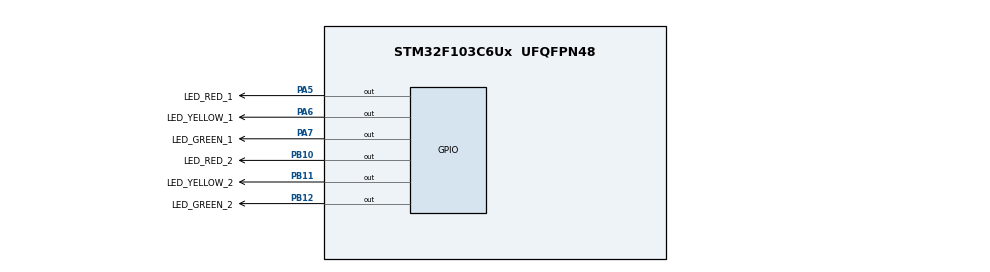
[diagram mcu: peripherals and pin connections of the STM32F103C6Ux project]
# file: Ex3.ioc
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Mcu.Family=STM32F1
Mcu.Name=STM32F103C6Ux
Mcu.Package=UFQFPN48
NVIC.PriorityGroup=NVIC_PRIORITYGROUP_4
PA5.GPIO_Label=LED_RED_1
PA5.Signal=GPIO_Output
PA6.GPIO_Label=LED_YELLOW_1
PA6.Signal=GPIO_Output
PA7.GPIO_Label=LED_GREEN_1
PA7.Signal=GPIO_Output
PB10.GPIO_Label=LED_RED_2
PB10.Signal=GPIO_Output
PB11.GPIO_Label=LED_YELLOW_2
PB11.Signal=GPIO_Output
PB12.GPIO_Label=LED_GREEN_2
PB12.Signal=GPIO_Output
ProjectManager.HeapSize=0x200
ProjectManager.StackSize=0x400
ProjectManager.TargetToolchain=STM32CubeIDE
RCC.APB1Freq_Value=8000000
RCC.APB2Freq_Value=8000000
VP_SYS_VS_ND.Mode=No_Debug
board=custom

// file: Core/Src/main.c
/* USER CODE BEGIN Header */
/**
  ******************************************************************************
  * @file           : main.c
  * @brief          : Main program body
  ******************************************************************************
  * @attention
  *
  * <h2><center>&copy; Copyright (c) 2022 STMicroelectronics.
  * All rights reserved.</center></h2>
  *
  * This software component is licensed by ST under BSD 3-Clause license,
  * the "License"; You may not use this file except in compliance with the
  * License. You may obtain a copy of the License at:
  *                        opensource.org/licenses/BSD-3-Clause
  *
  ******************************************************************************
  */
/* USER CODE END Header */
#include "main.h"

void SystemClock_Config(void);
static void MX_GPIO_Init(void);

int main(void)
{

  /* MCU Configuration--------------------------------------------------------*/

  /* Reset of all peripherals, Initializes the Flash interface and the Systick. */
  HAL_Init();

  /* Configure the system clock */
  SystemClock_Config();

  /* Initialize all configured peripherals */
  MX_GPIO_Init();

  /* Infinite loop */
  /* USER CODE BEGIN WHILE */

  /* idea:
   * 	0 1 2 3 4 5 6 7 8 9 10
   * 	|-|-|-|-|-|-|-|-|-|-|---->
   * A: | X |  V  |    Đ    |
   * B: |    Đ    |  X  | Đ |
   * */
  int state = 0;
  HAL_GPIO_TogglePin(LED_GREEN_1_GPIO_Port, LED_GREEN_1_Pin);
  HAL_GPIO_TogglePin(LED_RED_2_GPIO_Port, LED_RED_2_Pin);
  while (1)
  {
	  switch(state){
	  case 10:
		  HAL_GPIO_TogglePin(LED_RED_1_GPIO_Port, LED_RED_1_Pin);
		  HAL_GPIO_TogglePin(LED_GREEN_1_GPIO_Port, LED_GREEN_1_Pin);

		  HAL_GPIO_TogglePin(LED_YELLOW_2_GPIO_Port, LED_YELLOW_2_Pin);
		  HAL_GPIO_TogglePin(LED_RED_2_GPIO_Port, LED_RED_2_Pin);

		  state = 1;
		  break;
	  case 8:
		  HAL_GPIO_TogglePin(LED_YELLOW_2_GPIO_Port, LED_YELLOW_2_Pin);
		  HAL_GPIO_TogglePin(LED_GREEN_2_GPIO_Port, LED_GREEN_2_Pin);

		  state = 9;
		  break;
	  case 5:
		  HAL_GPIO_TogglePin(LED_YELLOW_1_GPIO_Port, LED_YELLOW_1_Pin);
		  HAL_GPIO_TogglePin(LED_RED_1_GPIO_Port, LED_RED_1_Pin);

		  HAL_GPIO_TogglePin(LED_RED_2_GPIO_Port, LED_RED_2_Pin);
		  HAL_GPIO_TogglePin(LED_GREEN_2_GPIO_Port, LED_GREEN_2_Pin);

		  state = 6;
		  break;
	  case 2:
		  HAL_GPIO_TogglePin(LED_YELLOW_1_GPIO_Port, LED_YELLOW_1_Pin);
		  HAL_GPIO_TogglePin(LED_GREEN_1_GPIO_Port, LED_GREEN_1_Pin);

		  state = 3;
		  break;
	  default:
		  state++;
		  break;
	  }
	  HAL_Delay(1000);
    /* USER CODE END WHILE */

  }
}

void SystemClock_Config(void)
{
  RCC_OscInitTypeDef RCC_OscInitStruct = {0};
  RCC_ClkInitTypeDef RCC_ClkInitStruct = {0};

  /** Initializes the RCC Oscillators according to the specified parameters
  * in the RCC_OscInitTypeDef structure.
  */
  RCC_OscInitStruct.OscillatorType = RCC_OSCILLATORTYPE_HSI;
  RCC_OscInitStruct.HSIState = RCC_HSI_ON;
  RCC_OscInitStruct.HSICalibrationValue = RCC_HSICALIBRATION_DEFAULT;
  RCC_OscInitStruct.PLL.PLLState = RCC_PLL_NONE;
  if (HAL_RCC_OscConfig(&RCC_OscInitStruct) != HAL_OK)
  {
    Error_Handler();
  }
  /** Initializes the CPU, AHB and APB buses clocks
  */
  RCC_ClkInitStruct.ClockType = RCC_CLOCKTYPE_HCLK|RCC_CLOCKTYPE_SYSCLK
                              |RCC_CLOCKTYPE_PCLK1|RCC_CLOCKTYPE_PCLK2;
  RCC_ClkInitStruct.SYSCLKSource = RCC_SYSCLKSOURCE_HSI;
  RCC_ClkInitStruct.AHBCLKDivider = RCC_SYSCLK_DIV1;
  RCC_ClkInitStruct.APB1CLKDivider = RCC_HCLK_DIV1;
  RCC_ClkInitStruct.APB2CLKDivider = RCC_HCLK_DIV1;

  if (HAL_RCC_ClockConfig(&RCC_ClkInitStruct, FLASH_LATENCY_0) != HAL_OK)
  {
    Error_Handler();
  }
}

static void MX_GPIO_Init(void)
{
  GPIO_InitTypeDef GPIO_InitStruct = {0};

  /* GPIO Ports Clock Enable */
  __HAL_RCC_GPIOA_CLK_ENABLE();
  __HAL_RCC_GPIOB_CLK_ENABLE();

  /*Configure GPIO pin Output Level */
  HAL_GPIO_WritePin(GPIOA, LED_RED_1_Pin|LED_YELLOW_1_Pin|LED_GREEN_1_Pin, GPIO_PIN_RESET);

  /*Configure GPIO pin Output Level */
  HAL_GPIO_WritePin(GPIOB, LED_RED_2_Pin|LED_YELLOW_2_Pin|LED_GREEN_2_Pin, GPIO_PIN_RESET);

  /*Configure GPIO pins : LED_RED_1_Pin LED_YELLOW_1_Pin LED_GREEN_1_Pin */
  GPIO_InitStruct.Pin = LED_RED_1_Pin|LED_YELLOW_1_Pin|LED_GREEN_1_Pin;
  GPIO_InitStruct.Mode = GPIO_MODE_OUTPUT_PP;
  GPIO_InitStruct.Pull = GPIO_NOPULL;
  GPIO_InitStruct.Speed = GPIO_SPEED_FREQ_LOW;
  HAL_GPIO_Init(GPIOA, &GPIO_InitStruct);

  /*Configure GPIO pins : LED_RED_2_Pin LED_YELLOW_2_Pin LED_GREEN_2_Pin */
  GPIO_InitStruct.Pin = LED_RED_2_Pin|LED_YELLOW_2_Pin|LED_GREEN_2_Pin;
  GPIO_InitStruct.Mode = GPIO_MODE_OUTPUT_PP;
  GPIO_InitStruct.Pull = GPIO_NOPULL;
  GPIO_InitStruct.Speed = GPIO_SPEED_FREQ_LOW;
  HAL_GPIO_Init(GPIOB, &GPIO_InitStruct);

}

void Error_Handler(void)
{
  __disable_irq();
  while (1)
  {
  }
}

/************************ (C) COPYRIGHT STMicroelectronics *****END OF FILE****/
